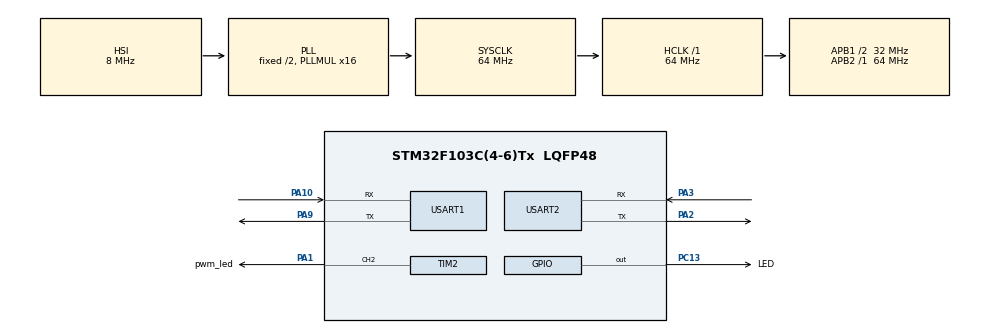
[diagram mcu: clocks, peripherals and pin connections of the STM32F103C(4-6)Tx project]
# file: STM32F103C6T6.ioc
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Dma.Request0=USART2_RX
Dma.Request1=USART2_TX
Dma.Request2=USART1_RX
Dma.Request3=USART1_TX
Dma.USART1_RX.2.Direction=DMA_PERIPH_TO_MEMORY
Dma.USART1_RX.2.Instance=DMA1_Channel5
Dma.USART1_RX.2.MemDataAlignment=DMA_MDATAALIGN_BYTE
Dma.USART1_RX.2.MemInc=DMA_MINC_ENABLE
Dma.USART1_RX.2.Mode=DMA_CIRCULAR
Dma.USART1_RX.2.PeriphDataAlignment=DMA_PDATAALIGN_BYTE
Dma.USART1_RX.2.PeriphInc=DMA_PINC_DISABLE
Dma.USART1_RX.2.Priority=DMA_PRIORITY_LOW
Dma.USART1_TX.3.Direction=DMA_MEMORY_TO_PERIPH
Dma.USART1_TX.3.Instance=DMA1_Channel4
Dma.USART1_TX.3.MemDataAlignment=DMA_MDATAALIGN_BYTE
Dma.USART1_TX.3.MemInc=DMA_MINC_ENABLE
Dma.USART1_TX.3.Mode=DMA_NORMAL
Dma.USART1_TX.3.PeriphDataAlignment=DMA_PDATAALIGN_BYTE
Dma.USART1_TX.3.PeriphInc=DMA_PINC_DISABLE
Dma.USART1_TX.3.Priority=DMA_PRIORITY_LOW
Dma.USART2_RX.0.Direction=DMA_PERIPH_TO_MEMORY
Dma.USART2_RX.0.Instance=DMA1_Channel6
Dma.USART2_RX.0.MemDataAlignment=DMA_MDATAALIGN_BYTE
Dma.USART2_RX.0.MemInc=DMA_MINC_ENABLE
Dma.USART2_RX.0.Mode=DMA_CIRCULAR
Dma.USART2_RX.0.PeriphDataAlignment=DMA_PDATAALIGN_BYTE
Dma.USART2_RX.0.PeriphInc=DMA_PINC_DISABLE
Dma.USART2_RX.0.Priority=DMA_PRIORITY_LOW
Dma.USART2_TX.1.Direction=DMA_MEMORY_TO_PERIPH
Dma.USART2_TX.1.Instance=DMA1_Channel7
Dma.USART2_TX.1.MemDataAlignment=DMA_MDATAALIGN_BYTE
Dma.USART2_TX.1.MemInc=DMA_MINC_ENABLE
Dma.USART2_TX.1.Mode=DMA_NORMAL
Dma.USART2_TX.1.PeriphDataAlignment=DMA_PDATAALIGN_BYTE
Dma.USART2_TX.1.PeriphInc=DMA_PINC_DISABLE
Dma.USART2_TX.1.Priority=DMA_PRIORITY_LOW
FREERTOS.Tasks01=defaultTask,0,128,StartDefaultTask,Default,NULL,Dynamic,NULL,NULL
FREERTOS.configTOTAL_HEAP_SIZE=7040
Mcu.Family=STM32F1
Mcu.Name=STM32F103C(4-6)Tx
Mcu.Package=LQFP48
NVIC.DMA1_Channel4_IRQn=true\:5\:0\:false\:false\:true\:true\:false\:true\:true
NVIC.DMA1_Channel5_IRQn=true\:5\:0\:false\:false\:true\:true\:false\:true\:true
NVIC.DMA1_Channel6_IRQn=true\:5\:0\:false\:false\:true\:true\:false\:true\:true
NVIC.DMA1_Channel7_IRQn=true\:5\:0\:false\:false\:true\:true\:false\:true\:true
NVIC.PriorityGroup=NVIC_PRIORITYGROUP_4
NVIC.TIM1_UP_IRQn=true\:15\:0\:false\:false\:true\:false\:false\:true\:true
NVIC.TimeBase=TIM1_UP_IRQn
NVIC.TimeBaseIP=TIM1
NVIC.USART1_IRQn=true\:5\:0\:false\:false\:true\:true\:true\:true\:true
NVIC.USART2_IRQn=true\:5\:0\:false\:false\:true\:true\:true\:true\:true
PA0-WKUP.Mode=SYS_WakeUp0
PA0-WKUP.Signal=SYS_WKUP
PA1.GPIO_Label=pwm_led
PA1.Signal=S_TIM2_CH2
PA10.Mode=Asynchronous
PA10.Signal=USART1_RX
PA13.Mode=Serial_Wire
PA13.Signal=SYS_JTMS-SWDIO
PA14.Mode=Serial_Wire
PA14.Signal=SYS_JTCK-SWCLK
PA2.Mode=Asynchronous
PA2.Signal=USART2_TX
PA3.Mode=Asynchronous
PA3.Signal=USART2_RX
PA9.Mode=Asynchronous
PA9.Signal=USART1_TX
PC13-TAMPER-RTC.GPIO_Label=LED
PC13-TAMPER-RTC.PinState=GPIO_PIN_SET
PC13-TAMPER-RTC.Signal=GPIO_Output
ProjectManager.HeapSize=0x200
ProjectManager.StackSize=0x400
ProjectManager.TargetToolchain=MDK-ARM V5.32
RCC.AHBFreq_Value=64000000
RCC.APB1CLKDivider=RCC_HCLK_DIV2
RCC.APB1Freq_Value=32000000
RCC.APB1TimFreq_Value=64000000
RCC.APB2Freq_Value=64000000
RCC.APB2TimFreq_Value=64000000
RCC.HCLKFreq_Value=64000000
RCC.PLLMUL=RCC_PLL_MUL16
RCC.SYSCLKFreq_VALUE=64000000
RCC.SYSCLKSource=RCC_SYSCLKSOURCE_PLLCLK
RCC.USBFreq_Value=64000000
SH.S_TIM2_CH2.0=TIM2_CH2,PWM Generation2 CH2
TIM2.Channel-PWM\ Generation2\ CH2=TIM_CHANNEL_2
TIM2.OCPolarity_2=TIM_OCPOLARITY_HIGH
TIM2.Period=1001
USART1.VirtualMode=VM_ASYNC
USART2.VirtualMode=VM_ASYNC
VP_FREERTOS_VS_CMSIS_V1.Mode=CMSIS_V1
VP_SYS_VS_tim1.Mode=TIM1
VP_TIM2_VS_ClockSourceINT.Mode=Internal
board=custom

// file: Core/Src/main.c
/* USER CODE BEGIN Header */
/**
  ******************************************************************************
  * @file           : main.c
  * @brief          : Main program body
  ******************************************************************************
  * @attention
  *
  * Copyright (c) 2023 STMicroelectronics.
  * All rights reserved.
  *
  * This software is licensed under terms that can be found in the LICENSE file
  * in the root directory of this software component.
  * If no LICENSE file comes with this software, it is provided AS-IS.
  *
  ******************************************************************************
  */
/* USER CODE END Header */
#include "main.h"
#include "cmsis_os.h"
#include "dma.h"
#include "tim.h"
#include "usart.h"
#include "gpio.h"

/* USER CODE BEGIN Includes */
#include "../Bsp/common.h"
/* USER CODE END Includes */

void SystemClock_Config(void);
void MX_FREERTOS_Init(void);

int main(void)
{

  /* MCU Configuration--------------------------------------------------------*/

  /* Reset of all peripherals, Initializes the Flash interface and the Systick. */
  HAL_Init();

  /* Configure the system clock */
  SystemClock_Config();

  /* Initialize all configured peripherals */
  MX_GPIO_Init();
  MX_DMA_Init();
  MX_TIM2_Init();
  MX_USART1_UART_Init();
  MX_USART2_UART_Init();

  /* Call init function for freertos objects (in freertos.c) */
  MX_FREERTOS_Init();

  /* Start scheduler */
  osKernelStart();

  /* We should never get here as control is now taken by the scheduler */
  /* Infinite loop */
  while (1)
  {

  }
}

void SystemClock_Config(void)
{
  RCC_OscInitTypeDef RCC_OscInitStruct = {0};
  RCC_ClkInitTypeDef RCC_ClkInitStruct = {0};

  /** Initializes the RCC Oscillators according to the specified parameters
  * in the RCC_OscInitTypeDef structure.
  */
  RCC_OscInitStruct.OscillatorType = RCC_OSCILLATORTYPE_HSI;
  RCC_OscInitStruct.HSIState = RCC_HSI_ON;
  RCC_OscInitStruct.HSICalibrationValue = RCC_HSICALIBRATION_DEFAULT;
  RCC_OscInitStruct.PLL.PLLState = RCC_PLL_ON;
  RCC_OscInitStruct.PLL.PLLSource = RCC_PLLSOURCE_HSI_DIV2;
  RCC_OscInitStruct.PLL.PLLMUL = RCC_PLL_MUL16;
  if (HAL_RCC_OscConfig(&RCC_OscInitStruct) != HAL_OK)
  {
    Error_Handler();
  }

  /** Initializes the CPU, AHB and APB buses clocks
  */
  RCC_ClkInitStruct.ClockType = RCC_CLOCKTYPE_HCLK|RCC_CLOCKTYPE_SYSCLK
                              |RCC_CLOCKTYPE_PCLK1|RCC_CLOCKTYPE_PCLK2;
  RCC_ClkInitStruct.SYSCLKSource = RCC_SYSCLKSOURCE_PLLCLK;
  RCC_ClkInitStruct.AHBCLKDivider = RCC_SYSCLK_DIV1;
  RCC_ClkInitStruct.APB1CLKDivider = RCC_HCLK_DIV2;
  RCC_ClkInitStruct.APB2CLKDivider = RCC_HCLK_DIV1;

  if (HAL_RCC_ClockConfig(&RCC_ClkInitStruct, FLASH_LATENCY_2) != HAL_OK)
  {
    Error_Handler();
  }
}

void HAL_TIM_PeriodElapsedCallback(TIM_HandleTypeDef *htim)
{
  if (htim->Instance == TIM1) {
    HAL_IncTick();
  }
}

void Error_Handler(void)
{
  __disable_irq();
  while (1)
  {
  }
}

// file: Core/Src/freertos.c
/* USER CODE BEGIN Header */
/**
  ******************************************************************************
  * File Name          : freertos.c
  * Description        : Code for freertos applications
  ******************************************************************************
  * @attention
  *
  * Copyright (c) 2023 STMicroelectronics.
  * All rights reserved.
  *
  * This software is licensed under terms that can be found in the LICENSE file
  * in the root directory of this software component.
  * If no LICENSE file comes with this software, it is provided AS-IS.
  *
  ******************************************************************************
  */
/* USER CODE END Header */

#include "FreeRTOS.h"
#include "task.h"
#include "main.h"
#include "cmsis_os.h"

/* USER CODE BEGIN Includes */
#include "../Bsp/common.h"
/* USER CODE END Includes */

osThreadId defaultTaskHandle;

/* USER CODE BEGIN FunctionPrototypes */

QueueHandle_t cmd_queueHandle;
//QueueHandle_t send_The_Right_Mutex;

osThreadId usart_wifi_TaskHandle;
osThreadId usart_debug_TaskHandle;
osThreadId led_taskHandle;
osThreadId sleep_taskHandle;
osThreadId cmd_handle_taskHandle;
osThreadId pwm_taskHandle;
osThreadId check_online_taskHandle;

void usart_wifi_TaskHandleFun(void const *argument);
void usart_debug_TaskHandleFun(void const *argument);
void led_taskFun(void const *argument);
void sleep_taskFun(void const *argument);
void cmd_handle_taskFun(void const *argument);
void pwm_taskFun(void const *argument);
void check_online_taskFun(void const *argument);

/* USER CODE END FunctionPrototypes */

void StartDefaultTask(void const * argument);

void MX_FREERTOS_Init(void); /* (MISRA C 2004 rule 8.1) */

/* GetIdleTaskMemory prototype (linked to static allocation support) */
void vApplicationGetIdleTaskMemory( StaticTask_t **ppxIdleTaskTCBBuffer, StackType_t **ppxIdleTaskStackBuffer, uint32_t *pulIdleTaskStackSize );

/* USER CODE BEGIN GET_IDLE_TASK_MEMORY */
static StaticTask_t xIdleTaskTCBBuffer;
static StackType_t xIdleStack[configMINIMAL_STACK_SIZE];

void vApplicationGetIdleTaskMemory( StaticTask_t **ppxIdleTaskTCBBuffer, StackType_t **ppxIdleTaskStackBuffer, uint32_t *pulIdleTaskStackSize )
{
  *ppxIdleTaskTCBBuffer = &xIdleTaskTCBBuffer;
  *ppxIdleTaskStackBuffer = &xIdleStack[0];
  *pulIdleTaskStackSize = configMINIMAL_STACK_SIZE;
  /* place for user code */
}
/* USER CODE END GET_IDLE_TASK_MEMORY */

void MX_FREERTOS_Init(void) {

  /* USER CODE BEGIN RTOS_MUTEX */
  /* add mutexes, ... */
//	send_The_Right_Mutex = xSemaphoreCreateMutex();
//	xSemaphoreGive( send_The_Right_Mutex );
  /* USER CODE END RTOS_MUTEX */

  /* USER CODE BEGIN RTOS_QUEUES */
  /* add queues, ... */
	cmd_queueHandle = xQueueCreate( 3, sizeof(SESSION*) );//发送消息队列
  /* USER CODE END RTOS_QUEUES */

  /* Create the thread(s) */
  /* definition and creation of defaultTask */
  osThreadDef(defaultTask, StartDefaultTask, osPriorityNormal, 0, 128);
  defaultTaskHandle = osThreadCreate(osThread(defaultTask), NULL);

  /* USER CODE BEGIN RTOS_THREADS */
  /* add threads, ... */
	osThreadDef(usart_wifi_Task, usart_wifi_TaskHandleFun, osPriorityNormal, 0, 256);
	usart_wifi_TaskHandle = osThreadCreate(osThread(usart_wifi_Task), NULL);

	osThreadDef(cmd_handle_task, cmd_handle_taskFun, osPriorityNormal, 0, 128);
	cmd_handle_taskHandle = osThreadCreate(osThread(cmd_handle_task), NULL);

	osThreadDef(usart_debug_Task, usart_debug_TaskHandleFun, osPriorityNormal, 0, 128);
	usart_debug_TaskHandle = osThreadCreate(osThread(usart_debug_Task), NULL);

	osThreadDef(led_task, led_taskFun, osPriorityNormal, 0, 128);
	led_taskHandle = osThreadCreate(osThread(led_task), NULL);

	osThreadDef(sleep_task, sleep_taskFun, osPriorityNormal, 0, 128);
	sleep_taskHandle = osThreadCreate(osThread(sleep_task), NULL);

	osThreadDef(pwm_task, pwm_taskFun, osPriorityNormal, 0, 128);
	pwm_taskHandle = osThreadCreate(osThread(pwm_task), NULL);

	osThreadDef(check_online_task, check_online_taskFun, osPriorityNormal, 0, 128);
	check_online_taskHandle = osThreadCreate(osThread(check_online_task), NULL);
  /* USER CODE END RTOS_THREADS */

}

void StartDefaultTask(void const * argument)
{
  /* USER CODE BEGIN StartDefaultTask */
  /* Infinite loop */
  for(;;)
  {
		//参数初始化
		pwm_str.maxBtnPer = 100;

		//PWM
		HAL_TIM_PWM_Start(&htim2, TIM_CHANNEL_2);   //开启定时器PWM输出

//		__HAL_TIM_SetCompare(&htim2, TIM_CHANNEL_2, 1000 );//修改占空比
//		while(1);

		//debug初始化
		xTaskNotify( usart_debug_TaskHandle, 1U<<DEBUG_DEVICE_INIT, eSetBits );
		//wifi初始化
		xTaskNotify( usart_wifi_TaskHandle, 1U<<WIFI_DEVICE_INIT, eSetBits );

		vTaskDelete( defaultTaskHandle );

  }
  /* USER CODE END StartDefaultTask */
}

/* USER CODE BEGIN Application */
void usart_wifi_TaskHandleFun(void const * argument) {
	uint32_t newBits, oldBits;
	xTaskNotify( usart_wifi_TaskHandle, (1U<<WIFI_SEND_OK), eSetBits );
  for( ;; ) {
		xTaskNotifyWait( pdFALSE, ~(1U<<WIFI_SEND_OK), &newBits, portMAX_DELAY );
		oldBits |= newBits;
		if ( oldBits & (1U<<WIFI_DEVICE_INIT) ) {//初始化wifi数据
			oldBits &=~ (1U<<WIFI_DEVICE_INIT);
			wifi_init();
		}
		if ( oldBits & (1U<<WIFI_PARSE_DATA) ) {//解析串口屏数据
			oldBits &=~ (1U<<WIFI_PARSE_DATA);
			wifi_parse_data();
		}
		if ( oldBits & (1U<<WIFI_CHECK_ONLINE) ) {//xs内无通信,检测wifi连接状态
			oldBits &=~ (1U<<WIFI_CHECK_ONLINE);
			wifi_str.isConfig = 1;
			if ( wifi_check_online() == pdFALSE) {
				wifi_to_reconfigure();
			}
			wifi_str.isConfig = 0;
		}

  }
}

void usart_debug_TaskHandleFun(void const * argument) {
	uint32_t newBits, oldBits;
  for( ;; ) {
		xTaskNotifyWait( pdFALSE, portMAX_DELAY, &newBits, portMAX_DELAY );
		oldBits |= newBits;
		if ( oldBits & (1U<<DEBUG_DEVICE_INIT) ) {//初始化wifi数据
			oldBits &=~ (1U<<DEBUG_DEVICE_INIT);
			debug_init();
		}
		if ( oldBits & (1U<<DEBUG_PARSE_DATA) ) {//解析串口屏数据
			oldBits &=~ (1U<<DEBUG_PARSE_DATA);
			debug_parse_data();
		}
  }
}
void led_taskFun(void const * argument) {
	uint32_t newBits, oldBits;
  for( ;; ) {
		xTaskNotifyWait( pdFALSE, portMAX_DELAY, &newBits, portMAX_DELAY );
		oldBits |= newBits;
		if ( oldBits & (1U<<LED_FAST_FLASHING) ) {
			oldBits &=~ (1U<<LED_FAST_FLASHING);
			for ( ;; ) {
				xTaskNotify( led_taskHandle, pdFALSE, eSetBits );
				xTaskNotifyWait( pdFALSE, 0, &newBits, 0 );
				if ( newBits ) {
					xTaskNotify( led_taskHandle, newBits, eSetBits );
					break;
				}
				vTaskDelay(150);
				HAL_GPIO_TogglePin(LED_GPIO_Port, LED_Pin);
			}
		}
		if ( oldBits & (1U<<LED_SLOW_FLASHING) ) {
			oldBits &=~ (1U<<LED_SLOW_FLASHING);
			for ( ;; ) {
				xTaskNotify( led_taskHandle, pdFALSE, eSetBits );
				xTaskNotifyWait( pdFALSE, 0, &newBits, 0 );
				if ( newBits ) {
					xTaskNotify( led_taskHandle, newBits, eSetBits );
					break;
				}
				vTaskDelay(800);
				HAL_GPIO_TogglePin(LED_GPIO_Port, LED_Pin);
			}
		}
		if ( oldBits & (1U<<LED_TURN_OFF) ) {
			oldBits &=~ (1U<<LED_TURN_OFF);
			HAL_GPIO_WritePin(LED_GPIO_Port, LED_Pin, GPIO_PIN_SET);
		}
		if ( oldBits & (1U<<LED_TURN_ON) ) {
			oldBits &=~ (1U<<LED_TURN_ON);
			HAL_GPIO_WritePin(LED_GPIO_Port, LED_Pin, GPIO_PIN_RESET);
		}
  }
}

void sleep_taskFun(void const * argument) {
	uint32_t newBits, oldBits;
  for( ;; ) {
		xTaskNotifyWait( pdFALSE, portMAX_DELAY, &newBits, portMAX_DELAY );
		oldBits |= newBits;
		if ( oldBits & (1U<<FALL_SLEEP) ) {//定时进入睡眠
			oldBits &=~ (1U<<FALL_SLEEP);

		}
		if ( oldBits & (1U<<WAKE_UP) ) {//定时苏醒
			oldBits &=~ (1U<<WAKE_UP);

		}
  }
}

void cmd_handle_taskFun(void const * argument) {
	uint32_t newBits, oldBits;
	xTaskNotify( usart_wifi_TaskHandle, (1U<<WIFI_SEND_OK), eSetBits );
  for( ;; ) {
		xTaskNotifyWait( pdFALSE, ~(1U<<WIFI_SEND_OK), &newBits, portMAX_DELAY );
		oldBits |= newBits;
		if ( oldBits & (1U<<CMD_MAIN) ) {//主菜单
			oldBits &=~ (1U<<CMD_MAIN);
			if ( cmd_main_fun() != 0 ) {
				xTaskNotify( cmd_handle_taskHandle, 1U<<CMD_MAIN, eSetBits );
			}
		}
		if ( oldBits & (1U<<CMD_SUB_1) ) {
			oldBits &=~ (1U<<CMD_SUB_1);
			if ( cmd_sub_1_fun() != 0 ) {
				xTaskNotify( cmd_handle_taskHandle, 1U<<CMD_SUB_1, eSetBits );
			}
		}
		if ( oldBits & (1U<<CMD_SUB_2) ) {
			oldBits &=~ (1U<<CMD_SUB_2);
			if ( cmd_sub_2_fun() != 0 ) {
				xTaskNotify( cmd_handle_taskHandle, 1U<<CMD_SUB_2, eSetBits );
			}
		}
		if ( oldBits & (1U<<CMD_SUB_3) ) {
			oldBits &=~ (1U<<CMD_SUB_3);
			if ( cmd_sub_3_fun() != 0 ) {
				xTaskNotify( cmd_handle_taskHandle, 1U<<CMD_SUB_3, eSetBits );
			}
		}
  }
}

void pwm_taskFun(void const * argument) {
	uint32_t newBits, oldBits;
  for( ;; ) {
		xTaskNotifyWait( pdFALSE, portMAX_DELAY, &newBits, portMAX_DELAY );
		oldBits |= newBits;
		if ( oldBits & (1U<<TURN_ON) ) {
			oldBits &=~ (1U<<TURN_ON);
			pwm_turn_on();
		}
		if ( oldBits & (1U<<TURN_OFF) ) {
			oldBits &=~ (1U<<TURN_OFF);
			pwm_turn_off();
		}
		if ( oldBits & (1U<<FLASHING) ) {
			oldBits &=~ (1U<<FLASHING);
			pwm_flashing();
		}
  }
}

void check_online_taskFun(void const * argument) {
	uint32_t newBits, oldBits;
	uint8_t num=0,i;
	vTaskDelay(1000);
  for( ;; ) {
		vTaskDelay(1000);
		if ( wifi_str.isConfig == 0 ) {
			if ( num++ > 5 ) {
				num = 0;
				xTaskNotify( check_online_taskHandle, pdFALSE, eSetBits );
				xTaskNotifyWait( pdFALSE, 1U<<WIFI_IS_COMMUNICATION, &newBits, portMAX_DELAY );
				if ( !(newBits & (1U<<WIFI_IS_COMMUNICATION)) ) {
					xTaskNotify( usart_wifi_TaskHandle, 1U<<WIFI_CHECK_ONLINE, eSetBits );
				} else {
					wifi_str.checkOnlineNum = 0;
				}
			}
		} else {
			num = 0;
		}
		for( i=0; i<2; i++ ) {
			if ( session[i].onlineSta ) {
				if ( session[i].heart > 0 ) {
					session[i].heart--;
				} else {
					xTaskNotify( check_online_taskHandle, pdFALSE, eSetBits );
					xTaskNotifyWait( pdFALSE, 1U<<NO_SESSION, &newBits, portMAX_DELAY );
					if ( !(newBits & (1U<<NO_SESSION)) ) {
						session[i].onlineSta = 0;
						session[i].dir = 0;
					}
				}
			}
		}
  }
}
/* USER CODE END Application */
